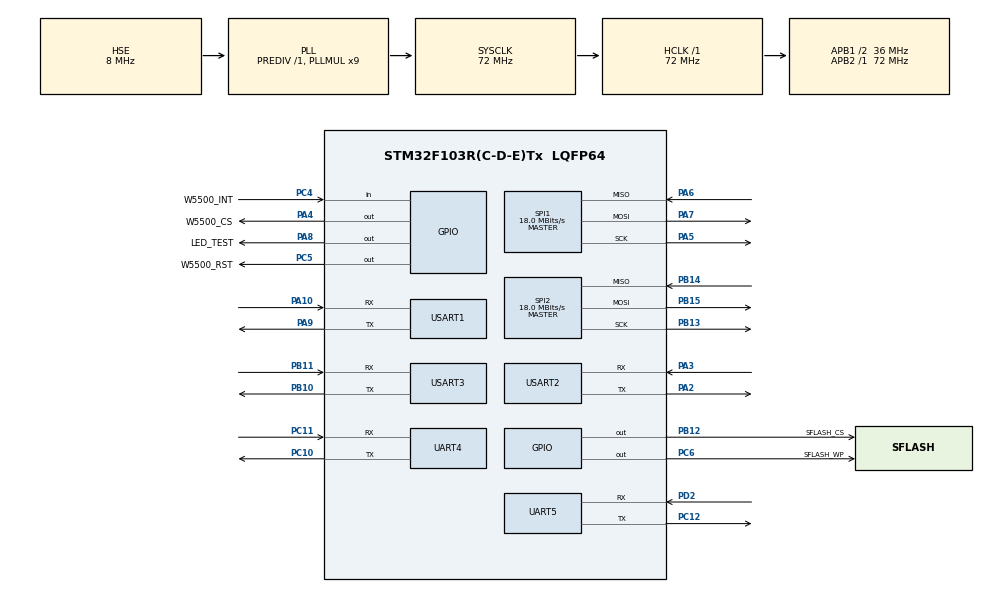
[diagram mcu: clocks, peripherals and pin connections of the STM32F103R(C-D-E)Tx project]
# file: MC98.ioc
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Dma.Request0=USART3_TX
Dma.Request1=USART1_TX
Dma.Request2=USART2_TX
Dma.Request3=UART4_TX
Dma.UART4_TX.3.Direction=DMA_MEMORY_TO_PERIPH
Dma.UART4_TX.3.Instance=DMA2_Channel5
Dma.UART4_TX.3.MemDataAlignment=DMA_MDATAALIGN_BYTE
Dma.UART4_TX.3.MemInc=DMA_MINC_ENABLE
Dma.UART4_TX.3.Mode=DMA_NORMAL
Dma.UART4_TX.3.PeriphDataAlignment=DMA_PDATAALIGN_BYTE
Dma.UART4_TX.3.PeriphInc=DMA_PINC_DISABLE
Dma.UART4_TX.3.Priority=DMA_PRIORITY_LOW
Dma.USART1_TX.1.Direction=DMA_MEMORY_TO_PERIPH
Dma.USART1_TX.1.Instance=DMA1_Channel4
Dma.USART1_TX.1.MemDataAlignment=DMA_MDATAALIGN_BYTE
Dma.USART1_TX.1.MemInc=DMA_MINC_ENABLE
Dma.USART1_TX.1.Mode=DMA_NORMAL
Dma.USART1_TX.1.PeriphDataAlignment=DMA_PDATAALIGN_BYTE
Dma.USART1_TX.1.PeriphInc=DMA_PINC_DISABLE
Dma.USART1_TX.1.Priority=DMA_PRIORITY_LOW
Dma.USART2_TX.2.Direction=DMA_MEMORY_TO_PERIPH
Dma.USART2_TX.2.Instance=DMA1_Channel7
Dma.USART2_TX.2.MemDataAlignment=DMA_MDATAALIGN_BYTE
Dma.USART2_TX.2.MemInc=DMA_MINC_ENABLE
Dma.USART2_TX.2.Mode=DMA_NORMAL
Dma.USART2_TX.2.PeriphDataAlignment=DMA_PDATAALIGN_BYTE
Dma.USART2_TX.2.PeriphInc=DMA_PINC_DISABLE
Dma.USART2_TX.2.Priority=DMA_PRIORITY_LOW
Dma.USART3_TX.0.Direction=DMA_MEMORY_TO_PERIPH
Dma.USART3_TX.0.Instance=DMA1_Channel2
Dma.USART3_TX.0.MemDataAlignment=DMA_MDATAALIGN_BYTE
Dma.USART3_TX.0.MemInc=DMA_MINC_ENABLE
Dma.USART3_TX.0.Mode=DMA_NORMAL
Dma.USART3_TX.0.PeriphDataAlignment=DMA_PDATAALIGN_BYTE
Dma.USART3_TX.0.PeriphInc=DMA_PINC_DISABLE
Dma.USART3_TX.0.Priority=DMA_PRIORITY_LOW
FREERTOS.Tasks01=defaultTask,0,128,StartDefaultTask,Default,NULL
FREERTOS.configCHECK_FOR_STACK_OVERFLOW=2
FREERTOS.configQUEUE_REGISTRY_SIZE=16
FREERTOS.configTOTAL_HEAP_SIZE=30720
FREERTOS.configUSE_APPLICATION_TASK_TAG=1
FREERTOS.configUSE_IDLE_HOOK=1
FREERTOS.configUSE_MALLOC_FAILED_HOOK=1
FREERTOS.configUSE_RECURSIVE_MUTEXES=1
FREERTOS.configUSE_TICK_HOOK=1
IWDG.Prescaler=IWDG_PRESCALER_128
Mcu.Family=STM32F1
Mcu.Name=STM32F103R(C-D-E)Tx
Mcu.Package=LQFP64
NVIC.DMA1_Channel2_IRQn=true\:5\:0\:false\:false\:true\:true\:false
NVIC.DMA1_Channel4_IRQn=true\:5\:0\:false\:false\:true\:true\:false
NVIC.DMA1_Channel7_IRQn=true\:5\:0\:false\:false\:true\:true\:false
NVIC.DMA2_Channel4_5_IRQn=true\:5\:0\:false\:false\:true\:true\:false
NVIC.PriorityGroup=NVIC_PRIORITYGROUP_4
NVIC.TIM8_UP_IRQn=true\:0\:0\:false\:false\:true\:false\:false
NVIC.TimeBase=TIM8_UP_IRQn
NVIC.TimeBaseIP=TIM8
NVIC.UART4_IRQn=true\:5\:0\:false\:false\:true\:true\:true
NVIC.UART5_IRQn=true\:5\:0\:false\:false\:true\:true\:true
NVIC.USART1_IRQn=true\:5\:0\:false\:false\:true\:true\:true
NVIC.USART2_IRQn=true\:5\:0\:false\:false\:true\:true\:true
NVIC.USART3_IRQn=true\:5\:0\:false\:false\:true\:true\:true
PA10.Mode=Asynchronous
PA10.Signal=USART1_RX
PA13.Mode=Serial_Wire
PA13.Signal=SYS_JTMS-SWDIO
PA14.Mode=Serial_Wire
PA14.Signal=SYS_JTCK-SWCLK
PA2.Mode=Asynchronous
PA2.Signal=USART2_TX
PA3.Mode=Asynchronous
PA3.Signal=USART2_RX
PA4.GPIO_Label=W5500_CS
PA4.Signal=GPIO_Output
PA5.Mode=Full_Duplex_Master
PA5.Signal=SPI1_SCK
PA6.Mode=Full_Duplex_Master
PA6.Signal=SPI1_MISO
PA7.Mode=Full_Duplex_Master
PA7.Signal=SPI1_MOSI
PA8.GPIO_Label=LED_TEST
PA8.Signal=GPIO_Output
PA9.Mode=Asynchronous
PA9.Signal=USART1_TX
PB10.Mode=Asynchronous
PB10.Signal=USART3_TX
PB11.Mode=Asynchronous
PB11.Signal=USART3_RX
PB12.GPIO_Label=SFLASH_CS
PB12.Signal=GPIO_Output
PB13.Mode=Full_Duplex_Master
PB13.Signal=SPI2_SCK
PB14.Mode=Full_Duplex_Master
PB14.Signal=SPI2_MISO
PB15.Mode=Full_Duplex_Master
PB15.Signal=SPI2_MOSI
PC10.Mode=Asynchronous
PC10.Signal=UART4_TX
PC11.Mode=Asynchronous
PC11.Signal=UART4_RX
PC12.Mode=Asynchronous
PC12.Signal=UART5_TX
PC4.GPIO_Label=W5500_INT
PC4.GPIO_PuPd=GPIO_PULLUP
PC4.Signal=GPIO_Input
PC5.GPIO_Label=W5500_RST
PC5.Signal=GPIO_Output
PC6.GPIO_Label=SFLASH_WP
PC6.Signal=GPIO_Output
PD0-OSC_IN.Mode=HSE-External-Oscillator
PD0-OSC_IN.Signal=RCC_OSC_IN
PD1-OSC_OUT.Mode=HSE-External-Oscillator
PD1-OSC_OUT.Signal=RCC_OSC_OUT
PD2.Mode=Asynchronous
PD2.Signal=UART5_RX
ProjectManager.HeapSize=0x000
ProjectManager.StackSize=0x800
ProjectManager.TargetToolchain=EWARM V7
RCC.AHBFreq_Value=72000000
RCC.APB1CLKDivider=RCC_HCLK_DIV2
RCC.APB1Freq_Value=36000000
RCC.APB1TimFreq_Value=72000000
RCC.APB2Freq_Value=72000000
RCC.APB2TimFreq_Value=72000000
RCC.HCLKFreq_Value=72000000
RCC.PLLMUL=RCC_PLL_MUL9
RCC.PLLSourceVirtual=RCC_PLLSOURCE_HSE
RCC.SYSCLKFreq_VALUE=72000000
RCC.SYSCLKSource=RCC_SYSCLKSOURCE_PLLCLK
RCC.USBFreq_Value=72000000
SPI1.BaudRatePrescaler=SPI_BAUDRATEPRESCALER_4
SPI1.CalculateBaudRate=18.0 MBits/s
SPI1.Direction=SPI_DIRECTION_2LINES
SPI1.Mode=SPI_MODE_MASTER
SPI1.VirtualType=VM_MASTER
SPI2.CalculateBaudRate=18.0 MBits/s
SPI2.Direction=SPI_DIRECTION_2LINES
SPI2.Mode=SPI_MODE_MASTER
SPI2.VirtualType=VM_MASTER
UART4.VirtualMode=Asynchronous
UART5.VirtualMode=Asynchronous
USART1.VirtualMode=VM_ASYNC
USART2.VirtualMode=VM_ASYNC
USART3.VirtualMode=VM_ASYNC
VP_CRC_VS_CRC.Mode=CRC_Activate
VP_FREERTOS_VS_ENABLE.Mode=Enabled
VP_IWDG_VS_IWDG.Mode=IWDG_Activate
VP_SYS_VS_tim8.Mode=TIM8
board=custom

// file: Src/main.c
/**
  ******************************************************************************
  * @file           : main.c
  * @brief          : Main program body
  ******************************************************************************
  * This notice applies to any and all portions of this file
  * that are not between comment pairs USER CODE BEGIN and
  * USER CODE END. Other portions of this file, whether
  * inserted by the user or by software development tools
  * are owned by their respective copyright owners.
  *
  * Copyright (c) 2019 STMicroelectronics International N.V.
  * All rights reserved.
  *
  * Redistribution and use in source and binary forms, with or without
  * modification, are permitted, provided that the following conditions are met:
  *
  * 1. Redistribution of source code must retain the above copyright notice,
  *    this list of conditions and the following disclaimer.
  * 2. Redistributions in binary form must reproduce the above copyright notice,
  *    this list of conditions and the following disclaimer in the documentation
  *    and/or other materials provided with the distribution.
  * 3. Neither the name of STMicroelectronics nor the names of other
  *    contributors to this software may be used to endorse or promote products
  *    derived from this software without specific written permission.
  * 4. This software, including modifications and/or derivative works of this
  *    software, must execute solely and exclusively on microcontroller or
  *    microprocessor devices manufactured by or for STMicroelectronics.
  * 5. Redistribution and use of this software other than as permitted under
  *    this license is void and will automatically terminate your rights under
  *    this license.
  *
  * THIS SOFTWARE IS PROVIDED BY STMICROELECTRONICS AND CONTRIBUTORS "AS IS"
  * AND ANY EXPRESS, IMPLIED OR STATUTORY WARRANTIES, INCLUDING, BUT NOT
  * LIMITED TO, THE IMPLIED WARRANTIES OF MERCHANTABILITY, FITNESS FOR A
  * PARTICULAR PURPOSE AND NON-INFRINGEMENT OF THIRD PARTY INTELLECTUAL PROPERTY
  * RIGHTS ARE DISCLAIMED TO THE FULLEST EXTENT PERMITTED BY LAW. IN NO EVENT
  * SHALL STMICROELECTRONICS OR CONTRIBUTORS BE LIABLE FOR ANY DIRECT, INDIRECT,
  * INCIDENTAL, SPECIAL, EXEMPLARY, OR CONSEQUENTIAL DAMAGES (INCLUDING, BUT NOT
  * LIMITED TO, PROCUREMENT OF SUBSTITUTE GOODS OR SERVICES; LOSS OF USE, DATA,
  * OR PROFITS; OR BUSINESS INTERRUPTION) HOWEVER CAUSED AND ON ANY THEORY OF
  * LIABILITY, WHETHER IN CONTRACT, STRICT LIABILITY, OR TORT (INCLUDING
  * NEGLIGENCE OR OTHERWISE) ARISING IN ANY WAY OUT OF THE USE OF THIS SOFTWARE,
  * EVEN IF ADVISED OF THE POSSIBILITY OF SUCH DAMAGE.
  *
  ******************************************************************************
  */
#include "main.h"
#include "stm32f1xx_hal.h"
#include "cmsis_os.h"

/* USER CODE BEGIN Includes */

#include "user_comm.h"
/* USER CODE END Includes */

CRC_HandleTypeDef hcrc;

IWDG_HandleTypeDef hiwdg;

SPI_HandleTypeDef hspi1;
SPI_HandleTypeDef hspi2;

UART_HandleTypeDef huart4;
UART_HandleTypeDef huart5;
UART_HandleTypeDef huart1;
UART_HandleTypeDef huart2;
UART_HandleTypeDef huart3;
DMA_HandleTypeDef hdma_uart4_tx;
DMA_HandleTypeDef hdma_usart1_tx;
DMA_HandleTypeDef hdma_usart2_tx;
DMA_HandleTypeDef hdma_usart3_tx;

osThreadId defaultTaskHandle;

/* USER CODE BEGIN PV */
/* Private variables ---------------------------------------------------------*/

/* USER CODE END PV */

void SystemClock_Config(void);
static void MX_GPIO_Init(void);
static void MX_DMA_Init(void);
static void MX_UART4_Init(void);
static void MX_UART5_Init(void);
static void MX_USART1_UART_Init(void);
static void MX_USART2_UART_Init(void);
static void MX_USART3_UART_Init(void);
static void MX_IWDG_Init(void);
static void MX_CRC_Init(void);
static void MX_SPI2_Init(void);
static void MX_SPI1_Init(void);
void StartDefaultTask(void const * argument);

/* USER CODE BEGIN PFP */
/* Private function prototypes -----------------------------------------------*/

/* USER CODE END PFP */

int main(void)
{

  /* MCU Configuration----------------------------------------------------------*/

  /* Reset of all peripherals, Initializes the Flash interface and the Systick. */
  HAL_Init();

  /* Configure the system clock */
  SystemClock_Config();

  /* Initialize all configured peripherals */
  MX_GPIO_Init();
  MX_DMA_Init();
  MX_UART4_Init();
  MX_UART5_Init();
  MX_USART1_UART_Init();
  MX_USART2_UART_Init();
  MX_USART3_UART_Init();
  MX_IWDG_Init();
  MX_CRC_Init();
  MX_SPI2_Init();
  MX_SPI1_Init();

  /* Create the thread(s) */
  /* definition and creation of defaultTask */
  osThreadDef(defaultTask, StartDefaultTask, osPriorityNormal, 0, 128);
  defaultTaskHandle = osThreadCreate(osThread(defaultTask), NULL);

  /* Start scheduler */
  osKernelStart();

  /* We should never get here as control is now taken by the scheduler */

  /* Infinite loop */
  while (1)
  {

  }

}

void SystemClock_Config(void)
{

  RCC_OscInitTypeDef RCC_OscInitStruct;
  RCC_ClkInitTypeDef RCC_ClkInitStruct;

    /**Initializes the CPU, AHB and APB busses clocks
    */
  RCC_OscInitStruct.OscillatorType = RCC_OSCILLATORTYPE_LSI|RCC_OSCILLATORTYPE_HSE;
  RCC_OscInitStruct.HSEState = RCC_HSE_ON;
  RCC_OscInitStruct.HSEPredivValue = RCC_HSE_PREDIV_DIV1;
  RCC_OscInitStruct.HSIState = RCC_HSI_ON;
  RCC_OscInitStruct.LSIState = RCC_LSI_ON;
  RCC_OscInitStruct.PLL.PLLState = RCC_PLL_ON;
  RCC_OscInitStruct.PLL.PLLSource = RCC_PLLSOURCE_HSE;
  RCC_OscInitStruct.PLL.PLLMUL = RCC_PLL_MUL9;
  if (HAL_RCC_OscConfig(&RCC_OscInitStruct) != HAL_OK)
  {
    _Error_Handler(__FILE__, __LINE__);
  }

    /**Initializes the CPU, AHB and APB busses clocks
    */
  RCC_ClkInitStruct.ClockType = RCC_CLOCKTYPE_HCLK|RCC_CLOCKTYPE_SYSCLK
                              |RCC_CLOCKTYPE_PCLK1|RCC_CLOCKTYPE_PCLK2;
  RCC_ClkInitStruct.SYSCLKSource = RCC_SYSCLKSOURCE_PLLCLK;
  RCC_ClkInitStruct.AHBCLKDivider = RCC_SYSCLK_DIV1;
  RCC_ClkInitStruct.APB1CLKDivider = RCC_HCLK_DIV2;
  RCC_ClkInitStruct.APB2CLKDivider = RCC_HCLK_DIV1;

  if (HAL_RCC_ClockConfig(&RCC_ClkInitStruct, FLASH_LATENCY_2) != HAL_OK)
  {
    _Error_Handler(__FILE__, __LINE__);
  }

    /**Configure the Systick interrupt time
    */
  HAL_SYSTICK_Config(HAL_RCC_GetHCLKFreq()/1000);

    /**Configure the Systick
    */
  HAL_SYSTICK_CLKSourceConfig(SYSTICK_CLKSOURCE_HCLK);

  /* SysTick_IRQn interrupt configuration */
  HAL_NVIC_SetPriority(SysTick_IRQn, 15, 0);
}

/* CRC init function */
static void MX_CRC_Init(void)
{

  hcrc.Instance = CRC;
  if (HAL_CRC_Init(&hcrc) != HAL_OK)
  {
    _Error_Handler(__FILE__, __LINE__);
  }

}

/* IWDG init function */
static void MX_IWDG_Init(void)
{

  hiwdg.Instance = IWDG;
  hiwdg.Init.Prescaler = IWDG_PRESCALER_128;
  hiwdg.Init.Reload = 4095;
  if (HAL_IWDG_Init(&hiwdg) != HAL_OK)
  {
    _Error_Handler(__FILE__, __LINE__);
  }

}

/* SPI1 init function */
static void MX_SPI1_Init(void)
{

  /* SPI1 parameter configuration*/
  hspi1.Instance = SPI1;
  hspi1.Init.Mode = SPI_MODE_MASTER;
  hspi1.Init.Direction = SPI_DIRECTION_2LINES;
  hspi1.Init.DataSize = SPI_DATASIZE_8BIT;
  hspi1.Init.CLKPolarity = SPI_POLARITY_LOW;
  hspi1.Init.CLKPhase = SPI_PHASE_1EDGE;
  hspi1.Init.NSS = SPI_NSS_SOFT;
  hspi1.Init.BaudRatePrescaler = SPI_BAUDRATEPRESCALER_4;
  hspi1.Init.FirstBit = SPI_FIRSTBIT_MSB;
  hspi1.Init.TIMode = SPI_TIMODE_DISABLE;
  hspi1.Init.CRCCalculation = SPI_CRCCALCULATION_DISABLE;
  hspi1.Init.CRCPolynomial = 10;
  if (HAL_SPI_Init(&hspi1) != HAL_OK)
  {
    _Error_Handler(__FILE__, __LINE__);
  }

}

/* SPI2 init function */
static void MX_SPI2_Init(void)
{

  /* SPI2 parameter configuration*/
  hspi2.Instance = SPI2;
  hspi2.Init.Mode = SPI_MODE_MASTER;
  hspi2.Init.Direction = SPI_DIRECTION_2LINES;
  hspi2.Init.DataSize = SPI_DATASIZE_8BIT;
  hspi2.Init.CLKPolarity = SPI_POLARITY_LOW;
  hspi2.Init.CLKPhase = SPI_PHASE_1EDGE;
  hspi2.Init.NSS = SPI_NSS_SOFT;
  hspi2.Init.BaudRatePrescaler = SPI_BAUDRATEPRESCALER_2;
  hspi2.Init.FirstBit = SPI_FIRSTBIT_MSB;
  hspi2.Init.TIMode = SPI_TIMODE_DISABLE;
  hspi2.Init.CRCCalculation = SPI_CRCCALCULATION_DISABLE;
  hspi2.Init.CRCPolynomial = 10;
  if (HAL_SPI_Init(&hspi2) != HAL_OK)
  {
    _Error_Handler(__FILE__, __LINE__);
  }

}

/* UART4 init function */
static void MX_UART4_Init(void)
{

  huart4.Instance = UART4;
  huart4.Init.BaudRate = 115200;
  huart4.Init.WordLength = UART_WORDLENGTH_8B;
  huart4.Init.StopBits = UART_STOPBITS_1;
  huart4.Init.Parity = UART_PARITY_NONE;
  huart4.Init.Mode = UART_MODE_TX_RX;
  huart4.Init.HwFlowCtl = UART_HWCONTROL_NONE;
  huart4.Init.OverSampling = UART_OVERSAMPLING_16;
  if (HAL_UART_Init(&huart4) != HAL_OK)
  {
    _Error_Handler(__FILE__, __LINE__);
  }

}

/* UART5 init function */
static void MX_UART5_Init(void)
{

  huart5.Instance = UART5;
  huart5.Init.BaudRate = 115200;
  huart5.Init.WordLength = UART_WORDLENGTH_8B;
  huart5.Init.StopBits = UART_STOPBITS_1;
  huart5.Init.Parity = UART_PARITY_NONE;
  huart5.Init.Mode = UART_MODE_TX_RX;
  huart5.Init.HwFlowCtl = UART_HWCONTROL_NONE;
  huart5.Init.OverSampling = UART_OVERSAMPLING_16;
  if (HAL_UART_Init(&huart5) != HAL_OK)
  {
    _Error_Handler(__FILE__, __LINE__);
  }

}

/* USART1 init function */
static void MX_USART1_UART_Init(void)
{

  huart1.Instance = USART1;
  huart1.Init.BaudRate = 115200;
  huart1.Init.WordLength = UART_WORDLENGTH_8B;
  huart1.Init.StopBits = UART_STOPBITS_1;
  huart1.Init.Parity = UART_PARITY_NONE;
  huart1.Init.Mode = UART_MODE_TX_RX;
  huart1.Init.HwFlowCtl = UART_HWCONTROL_NONE;
  huart1.Init.OverSampling = UART_OVERSAMPLING_16;
  if (HAL_UART_Init(&huart1) != HAL_OK)
  {
    _Error_Handler(__FILE__, __LINE__);
  }

}

/* USART2 init function */
static void MX_USART2_UART_Init(void)
{

  huart2.Instance = USART2;
  huart2.Init.BaudRate = 115200;
  huart2.Init.WordLength = UART_WORDLENGTH_8B;
  huart2.Init.StopBits = UART_STOPBITS_1;
  huart2.Init.Parity = UART_PARITY_NONE;
  huart2.Init.Mode = UART_MODE_TX_RX;
  huart2.Init.HwFlowCtl = UART_HWCONTROL_NONE;
  huart2.Init.OverSampling = UART_OVERSAMPLING_16;
  if (HAL_UART_Init(&huart2) != HAL_OK)
  {
    _Error_Handler(__FILE__, __LINE__);
  }

}

/* USART3 init function */
static void MX_USART3_UART_Init(void)
{

  huart3.Instance = USART3;
  huart3.Init.BaudRate = 115200;
  huart3.Init.WordLength = UART_WORDLENGTH_8B;
  huart3.Init.StopBits = UART_STOPBITS_1;
  huart3.Init.Parity = UART_PARITY_NONE;
  huart3.Init.Mode = UART_MODE_TX_RX;
  huart3.Init.HwFlowCtl = UART_HWCONTROL_NONE;
  huart3.Init.OverSampling = UART_OVERSAMPLING_16;
  if (HAL_UART_Init(&huart3) != HAL_OK)
  {
    _Error_Handler(__FILE__, __LINE__);
  }

}

static void MX_DMA_Init(void)
{
  /* DMA controller clock enable */
  __HAL_RCC_DMA1_CLK_ENABLE();
  __HAL_RCC_DMA2_CLK_ENABLE();

  /* DMA interrupt init */
  /* DMA1_Channel2_IRQn interrupt configuration */
  HAL_NVIC_SetPriority(DMA1_Channel2_IRQn, 5, 0);
  HAL_NVIC_EnableIRQ(DMA1_Channel2_IRQn);
  /* DMA1_Channel4_IRQn interrupt configuration */
  HAL_NVIC_SetPriority(DMA1_Channel4_IRQn, 5, 0);
  HAL_NVIC_EnableIRQ(DMA1_Channel4_IRQn);
  /* DMA1_Channel7_IRQn interrupt configuration */
  HAL_NVIC_SetPriority(DMA1_Channel7_IRQn, 5, 0);
  HAL_NVIC_EnableIRQ(DMA1_Channel7_IRQn);
  /* DMA2_Channel4_5_IRQn interrupt configuration */
  HAL_NVIC_SetPriority(DMA2_Channel4_5_IRQn, 5, 0);
  HAL_NVIC_EnableIRQ(DMA2_Channel4_5_IRQn);

}

/** Configure pins as
        * Analog
        * Input
        * Output
        * EVENT_OUT
        * EXTI
*/
static void MX_GPIO_Init(void)
{

  GPIO_InitTypeDef GPIO_InitStruct;

  /* GPIO Ports Clock Enable */
  __HAL_RCC_GPIOD_CLK_ENABLE();
  __HAL_RCC_GPIOA_CLK_ENABLE();
  __HAL_RCC_GPIOC_CLK_ENABLE();
  __HAL_RCC_GPIOB_CLK_ENABLE();

  /*Configure GPIO pin Output Level */
  HAL_GPIO_WritePin(GPIOA, W5500_CS_Pin|LED_TEST_Pin, GPIO_PIN_RESET);

  /*Configure GPIO pin Output Level */
  HAL_GPIO_WritePin(GPIOC, W5500_RST_Pin|SFLASH_WP_Pin, GPIO_PIN_RESET);

  /*Configure GPIO pin Output Level */
  HAL_GPIO_WritePin(SFLASH_CS_GPIO_Port, SFLASH_CS_Pin, GPIO_PIN_RESET);

  /*Configure GPIO pins : W5500_CS_Pin LED_TEST_Pin */
  GPIO_InitStruct.Pin = W5500_CS_Pin|LED_TEST_Pin;
  GPIO_InitStruct.Mode = GPIO_MODE_OUTPUT_PP;
  GPIO_InitStruct.Pull = GPIO_NOPULL;
  GPIO_InitStruct.Speed = GPIO_SPEED_FREQ_LOW;
  HAL_GPIO_Init(GPIOA, &GPIO_InitStruct);

  /*Configure GPIO pin : W5500_INT_Pin */
  GPIO_InitStruct.Pin = W5500_INT_Pin;
  GPIO_InitStruct.Mode = GPIO_MODE_INPUT;
  GPIO_InitStruct.Pull = GPIO_PULLUP;
  HAL_GPIO_Init(W5500_INT_GPIO_Port, &GPIO_InitStruct);

  /*Configure GPIO pins : W5500_RST_Pin SFLASH_WP_Pin */
  GPIO_InitStruct.Pin = W5500_RST_Pin|SFLASH_WP_Pin;
  GPIO_InitStruct.Mode = GPIO_MODE_OUTPUT_PP;
  GPIO_InitStruct.Pull = GPIO_NOPULL;
  GPIO_InitStruct.Speed = GPIO_SPEED_FREQ_LOW;
  HAL_GPIO_Init(GPIOC, &GPIO_InitStruct);

  /*Configure GPIO pin : SFLASH_CS_Pin */
  GPIO_InitStruct.Pin = SFLASH_CS_Pin;
  GPIO_InitStruct.Mode = GPIO_MODE_OUTPUT_PP;
  GPIO_InitStruct.Pull = GPIO_NOPULL;
  GPIO_InitStruct.Speed = GPIO_SPEED_FREQ_LOW;
  HAL_GPIO_Init(SFLASH_CS_GPIO_Port, &GPIO_InitStruct);

}

void StartDefaultTask(void const * argument)
{

  /* USER CODE BEGIN 5 */
    TWDT_DEF(startTask, 30000);
    TWDT_ADD(startTask);
    TWDT_CLEAR(startTask);

#if UART1_RECEVIE_BUFFER_SIZE > 0
    UART_PortConfig(1, &huart1, UART1_RECEVIE_BUFFER_SIZE);
#endif
#if UART2_RECEVIE_BUFFER_SIZE > 0
    UART_PortConfig(2, &huart2, UART2_RECEVIE_BUFFER_SIZE);
#endif
#if UART3_RECEVIE_BUFFER_SIZE > 0
    UART_PortConfig(3, &huart3, UART3_RECEVIE_BUFFER_SIZE);
#endif
#if UART4_RECEVIE_BUFFER_SIZE > 0
    UART_PortConfig(4, &huart4, UART4_RECEVIE_BUFFER_SIZE);
#endif
#if UART5_RECEVIE_BUFFER_SIZE > 0
    UART_PortConfig(5, &huart5, UART5_RECEVIE_BUFFER_SIZE);
#endif

    CMD_Init();
    System_Init();
    SFlash_Init(&hspi2);

    WorkParam_Init();
    StartLog_Recoder();
    DataSave_Init();

    //M4G_Init();
    //MQTT_Conn_Init();
    //AB13Logic_Init();
    DBG_LOG("System Start!");

    /* Infinite loop */

    for(;;)
    {

      CMD_UART_Read_Poll();
      UART_Refresh_Poll();

      LED_FlashPoll();
      TWDT_CLEAR(startTask);
      osDelay(1);

    }

  /* USER CODE END 5 */
}

void HAL_TIM_PeriodElapsedCallback(TIM_HandleTypeDef *htim)
{
  if (htim->Instance == TIM8) {
    HAL_IncTick();
  }
}

void _Error_Handler(char *file, int line)
{
  while(1)
  {
  }
}

/************************ (C) COPYRIGHT STMicroelectronics *****END OF FILE****/

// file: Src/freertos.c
/* USER CODE BEGIN Header */
/**
  ******************************************************************************
  * File Name          : freertos.c
  * Description        : Code for freertos applications
  ******************************************************************************
  * This notice applies to any and all portions of this file
  * that are not between comment pairs USER CODE BEGIN and
  * USER CODE END. Other portions of this file, whether
  * inserted by the user or by software development tools
  * are owned by their respective copyright owners.
  *
  * Copyright (c) 2019 STMicroelectronics International N.V.
  * All rights reserved.
  *
  * Redistribution and use in source and binary forms, with or without
  * modification, are permitted, provided that the following conditions are met:
  *
  * 1. Redistribution of source code must retain the above copyright notice,
  *    this list of conditions and the following disclaimer.
  * 2. Redistributions in binary form must reproduce the above copyright notice,
  *    this list of conditions and the following disclaimer in the documentation
  *    and/or other materials provided with the distribution.
  * 3. Neither the name of STMicroelectronics nor the names of other
  *    contributors to this software may be used to endorse or promote products
  *    derived from this software without specific written permission.
  * 4. This software, including modifications and/or derivative works of this
  *    software, must execute solely and exclusively on microcontroller or
  *    microprocessor devices manufactured by or for STMicroelectronics.
  * 5. Redistribution and use of this software other than as permitted under
  *    this license is void and will automatically terminate your rights under
  *    this license.
  *
  * THIS SOFTWARE IS PROVIDED BY STMICROELECTRONICS AND CONTRIBUTORS "AS IS"
  * AND ANY EXPRESS, IMPLIED OR STATUTORY WARRANTIES, INCLUDING, BUT NOT
  * LIMITED TO, THE IMPLIED WARRANTIES OF MERCHANTABILITY, FITNESS FOR A
  * PARTICULAR PURPOSE AND NON-INFRINGEMENT OF THIRD PARTY INTELLECTUAL PROPERTY
  * RIGHTS ARE DISCLAIMED TO THE FULLEST EXTENT PERMITTED BY LAW. IN NO EVENT
  * SHALL STMICROELECTRONICS OR CONTRIBUTORS BE LIABLE FOR ANY DIRECT, INDIRECT,
  * INCIDENTAL, SPECIAL, EXEMPLARY, OR CONSEQUENTIAL DAMAGES (INCLUDING, BUT NOT
  * LIMITED TO, PROCUREMENT OF SUBSTITUTE GOODS OR SERVICES; LOSS OF USE, DATA,
  * OR PROFITS; OR BUSINESS INTERRUPTION) HOWEVER CAUSED AND ON ANY THEORY OF
  * LIABILITY, WHETHER IN CONTRACT, STRICT LIABILITY, OR TORT (INCLUDING
  * NEGLIGENCE OR OTHERWISE) ARISING IN ANY WAY OUT OF THE USE OF THIS SOFTWARE,
  * EVEN IF ADVISED OF THE POSSIBILITY OF SUCH DAMAGE.
  *
  ******************************************************************************
  */
/* USER CODE END Header */

#include "FreeRTOS.h"
#include "task.h"
#include "main.h"

/* USER CODE BEGIN Includes */
#include "user_comm.h"
/* USER CODE END Includes */

/* USER CODE BEGIN Variables */
extern IWDG_HandleTypeDef hiwdg;
/* USER CODE END Variables */

/* USER CODE BEGIN FunctionPrototypes */
void vApplicationIdleHook(void);
void vApplicationTickHook(void);
void vApplicationStackOverflowHook(xTaskHandle xTask, signed char *pcTaskName);
void vApplicationMallocFailedHook(void);
/* USER CODE END FunctionPrototypes */

/* Hook prototypes */
void vApplicationIdleHook(void);
void vApplicationTickHook(void);
void vApplicationStackOverflowHook(xTaskHandle xTask, signed char *pcTaskName);
void vApplicationMallocFailedHook(void);

/* USER CODE BEGIN 2 */
__weak void vApplicationIdleHook( void )
{
   /* vApplicationIdleHook() will only be called if configUSE_IDLE_HOOK is set
   to 1 in FreeRTOSConfig.h. It will be called on each iteration of the idle
   task. It is essential that code added to this hook function never attempts
   to block in any way (for example, call xQueueReceive() with a block time
   specified, or call vTaskDelay()). If the application makes use of the
   vTaskDelete() API function (as this demo application does) then it is also
   important that vApplicationIdleHook() is permitted to return to its calling
   function, because it is the responsibility of the idle task to clean up
   memory allocated by the kernel to any task that has since been deleted. */
    char *name = NULL;

    name = TaskWDG_IsUpper();
    if (name == NULL) {
        HAL_IWDG_Refresh(&hiwdg);
    } else {
        THROW(name);
        THROW(" task watchdog overflow, system will reset.\r\n");
        HAL_Delay(1000);
    }
}
/* USER CODE END 2 */

/* USER CODE BEGIN 3 */
__weak void vApplicationTickHook( void )
{
   /* This function will be called by each tick interrupt if
   configUSE_TICK_HOOK is set to 1 in FreeRTOSConfig.h. User code can be
   added here, but the tick hook is called from an interrupt context, so
   code must not attempt to block, and only the interrupt safe FreeRTOS API
   functions can be used (those that end in FromISR()). */
    char *name = NULL;
    static BOOL save = FALSE;

    name = TaskWDG_Tick();
    if (name != NULL) {
        if (save == FALSE) {
            TaskFault_Save(RTC_ReadTick(), name);
            save = TRUE;
        }
        THROW(name);
        THROW(" task watchdog overflow, system will reset.\r\n");
    }
}
/* USER CODE END 3 */

/* USER CODE BEGIN 4 */
__weak void vApplicationStackOverflowHook(xTaskHandle xTask, signed char *pcTaskName)
{
   /* Run time stack overflow checking is performed if
   configCHECK_FOR_STACK_OVERFLOW is defined to 1 or 2. This hook function is
   called if a stack overflow is detected. */
    THROW((char*)pcTaskName);
    THROW(" Task Overflow.!!\r\n");
    HAL_Delay(1000);
}
/* USER CODE END 4 */

/* USER CODE BEGIN 5 */
__weak void vApplicationMallocFailedHook(void)
{
   /* vApplicationMallocFailedHook() will only be called if
   configUSE_MALLOC_FAILED_HOOK is set to 1 in FreeRTOSConfig.h. It is a hook
   function that will get called if a call to pvPortMalloc() fails.
   pvPortMalloc() is called internally by the kernel whenever a task, queue,
   timer or semaphore is created. It is also called by various parts of the
   demo application. If heap_1.c or heap_2.c are used, then the size of the
   heap available to pvPortMalloc() is defined by configTOTAL_HEAP_SIZE in
   FreeRTOSConfig.h, and the xPortGetFreeHeapSize() API function can be used
   to query the size of free heap space that remains (although it does not
   provide information on how the remaining heap might be fragmented). */

    static uint16_t failindex = 0;

    failindex++;
    while (failindex > 10) {
        THROW("Memory malloc failed!!\r\n");
        HAL_Delay(1000);
    }
}
/* USER CODE END 5 */

/************************ (C) COPYRIGHT STMicroelectronics *****END OF FILE****/
